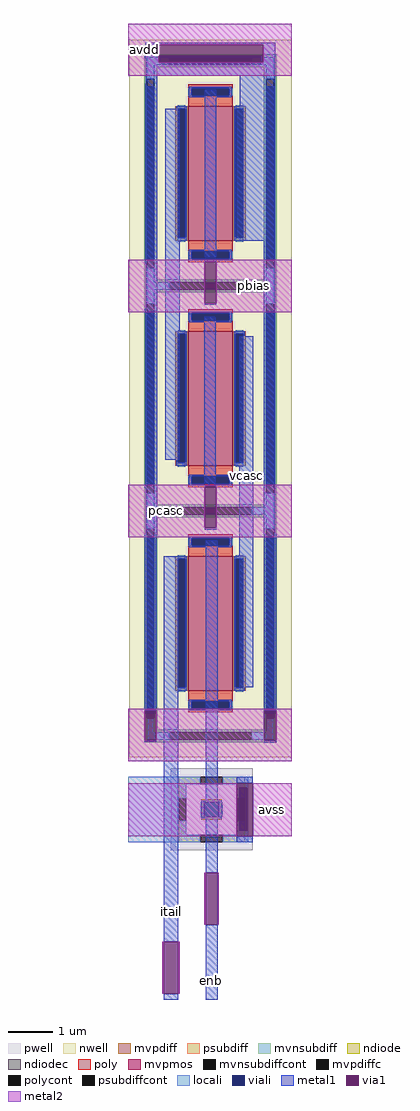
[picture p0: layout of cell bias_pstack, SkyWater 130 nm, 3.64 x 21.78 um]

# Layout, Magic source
magic
tech sky130A
magscale 1 2
<< locali >>
rect 1986 -3266 2210 -2972
rect 2470 -3022 2520 -2972
rect 2470 -3215 2480 -3022
rect 2514 -3215 2520 -3022
rect 2470 -3266 2520 -3215
<< viali >>
rect 2480 -3215 2514 -3022
<< metal1 >>
rect 2062 294 2641 302
rect 2062 234 2122 294
rect 2063 216 2122 234
rect 2588 216 2641 294
rect 2063 154 2641 216
rect 2063 -1889 2115 154
rect 2150 -1558 2214 8
rect 2326 -654 2378 92
rect 2482 14 2641 154
rect 2470 -582 2641 14
rect 2326 -656 2374 -654
rect 2326 -674 2378 -662
rect 2326 -868 2378 -860
rect 2324 -922 2372 -920
rect 2324 -1666 2376 -922
rect 2324 -1668 2378 -1666
rect 2326 -1676 2378 -1668
rect 2326 -1870 2378 -1862
rect 2059 -2676 2111 -1889
rect 2330 -1920 2380 -1918
rect 2059 -2818 2111 -2812
rect 2144 -3709 2208 -1990
rect 2144 -3967 2208 -3941
rect 2330 -3402 2384 -1920
rect 2480 -2574 2544 -1008
rect 2589 -1889 2641 -582
rect 2593 -2676 2645 -1889
rect 2593 -2821 2645 -2812
rect 2470 -3001 2540 -2972
rect 2470 -3265 2540 -3239
rect 2330 -3967 2384 -3634
<< via1 >>
rect 2122 216 2588 294
rect 2326 -860 2378 -674
rect 2326 -1862 2378 -1676
rect 2059 -2812 2111 -2676
rect 2144 -3941 2208 -3709
rect 2593 -2812 2645 -2676
rect 2470 -3022 2540 -3001
rect 2470 -3215 2480 -3022
rect 2480 -3215 2514 -3022
rect 2514 -3215 2540 -3022
rect 2470 -3239 2540 -3215
rect 2330 -3634 2384 -3402
<< metal2 >>
rect 1986 294 2714 388
rect 1986 216 2122 294
rect 2588 216 2714 294
rect 1986 154 2714 216
rect 1986 -674 2714 -666
rect 1986 -860 2326 -674
rect 2378 -860 2714 -674
rect 1986 -900 2714 -860
rect 1986 -1676 2714 -1670
rect 1986 -1862 2326 -1676
rect 2378 -1862 2714 -1676
rect 1986 -1904 2714 -1862
rect 1986 -2676 2714 -2670
rect 1986 -2812 2059 -2676
rect 2111 -2812 2593 -2676
rect 2645 -2812 2714 -2676
rect 1986 -2904 2714 -2812
rect 1986 -3239 2470 -3001
rect 2540 -3239 2714 -3001
rect 2324 -3634 2330 -3402
rect 2384 -3634 2390 -3402
rect 2138 -3941 2144 -3709
rect 2208 -3941 2214 -3709
use sky130_fd_pr__diode_pw2nd_05v5_FT76RK  sky130_fd_pr__diode_pw2nd_05v5_FT76RK_0 paramcells
transform 1 0 2357 0 1 -3119
box -183 -183 183 183
use sky130_fd_pr__pfet_g5v0d10v5_G8LMTZ  sky130_fd_pr__pfet_g5v0d10v5_G8LMTZ_0 paramcells
transform 1 0 2352 0 1 -2289
box -362 -597 362 597
use sky130_fd_pr__pfet_g5v0d10v5_H75TTW  sky130_fd_pr__pfet_g5v0d10v5_H75TTW_0 paramcells
transform 1 0 2352 0 1 -281
box -362 -597 362 597
use sky130_fd_pr__pfet_g5v0d10v5_G8LMTZ  XM13
transform 1 0 2352 0 1 -1285
box -362 -597 362 597
<< labels >>
flabel metal2 1990 154 2122 388 0 FreeSans 560 0 0 0 avdd
port 0 nsew
flabel metal2 2540 -3239 2710 -3001 0 FreeSans 560 0 0 0 avss
port 1 nsew
flabel metal2 1990 -1904 2326 -1670 0 FreeSans 560 0 0 0 pcasc
port 3 nsew
flabel metal1 2330 -3967 2384 -3796 0 FreeSans 560 90 0 0 enb
port 4 nsew
flabel metal1 2144 -3658 2208 -3488 0 FreeSans 560 90 0 0 itail
port 5 nsew
flabel metal1 2480 -1662 2544 -1600 0 FreeSans 560 90 0 0 vcasc
port 7 nsew
flabel metal2 2378 -900 2710 -666 0 FreeSans 560 0 0 0 pbias
port 8 nsew
<< end >>

# cell sky130_fd_pr__diode_pw2nd_05v5_FT76RK: kit device sky130_fd_pr__diode_pw2nd_05v5, w 0.45 l 0.45 area 202.5m peri 1.8 nx 1 ny 1 dummy 0 lmin 0.45 wmin 0.45 elc 1 erc 1 etc 1 ebc 1 doverlap 0 compatible {sky130_fd_pr__diode_pw2nd_05v5 sky130_fd_pr__diode_pw2nd_05v5_lvt sky130_fd_pr__diode_pw2nd_05v5_nvt sky130_fd_pr__diode_pw2nd_11v0} full_metal 1 vias 1 viagb 0 viagt 0 viagl 0 viagr 0

# cell sky130_fd_pr__pfet_g5v0d10v5_G8LMTZ: kit device sky130_fd_pr__pfet_g5v0d10v5, w 3.0 l 1.0 m 1 nf 1 diffcov 100 polycov 100 guard 1 glc 1 grc 1 gtc 1 gbc 1 tbcov 100 rlcov 100 topc 1 botc 1 poverlap 0 doverlap 1 lmin 0.50 wmin 0.42 compatible {sky130_fd_pr__pfet_01v8 sky130_fd_pr__pfet_01v8_lvt sky130_fd_pr__pfet_01v8_hvt sky130_fd_pr__pfet_g5v0d10v5} full_metal 1 viasrc 100 viadrn 100 viagate 100 viagb 0 viagr 80 viagl 80 viagt 0

# cell sky130_fd_pr__pfet_g5v0d10v5_H75TTW: kit device sky130_fd_pr__pfet_g5v0d10v5, w 3.0 l 1.0 m 1 nf 1 diffcov 100 polycov 100 guard 1 glc 1 grc 1 gtc 1 gbc 1 tbcov 100 rlcov 100 topc 1 botc 1 poverlap 0 doverlap 1 lmin 0.50 wmin 0.42 compatible {sky130_fd_pr__pfet_01v8 sky130_fd_pr__pfet_01v8_lvt sky130_fd_pr__pfet_01v8_hvt sky130_fd_pr__pfet_g5v0d10v5} full_metal 1 viasrc 100 viadrn 100 viagate 100 viagb 0 viagr 80 viagl 80 viagt 90
